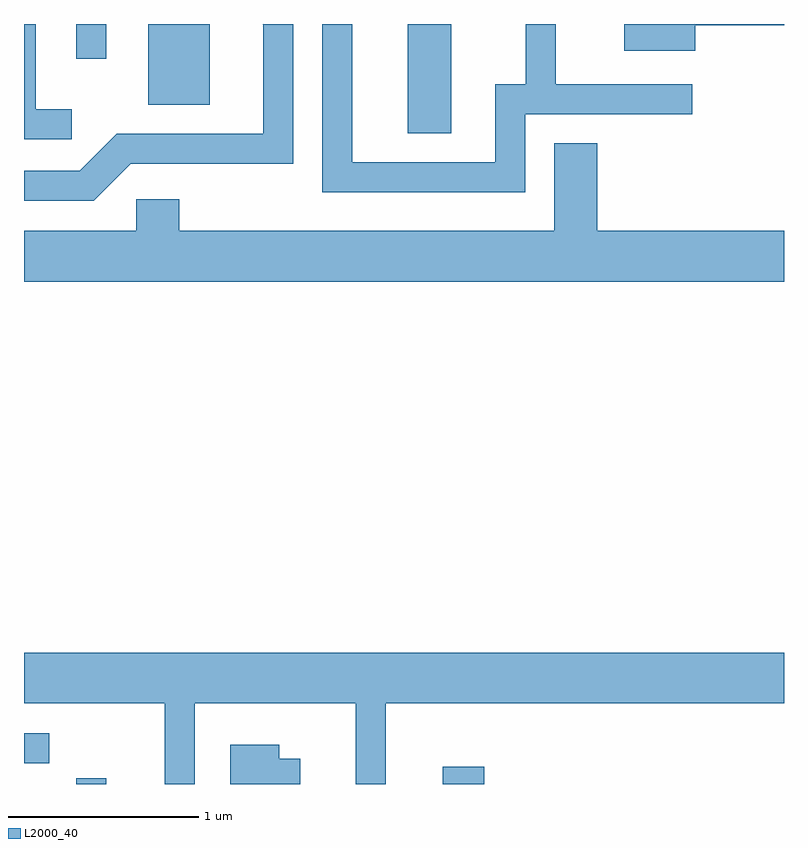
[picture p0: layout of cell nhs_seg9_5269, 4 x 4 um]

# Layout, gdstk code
import gdstk
lib = gdstk.Library(unit=1e-6, precision=1e-09)
def R(c, l, rs):  # rectangles x0, y0, x1, y1
    for r in rs: c.add(gdstk.rectangle(r[:2], r[2:], *l))
def P(c, l, *ps):  # polygons
    for p in ps: c.add(gdstk.Polygon(p, *l))
L2000_40 = (2000, 40)

nhs_seg9_5269 = lib.new_cell('nhs_seg9_5269')
R(nhs_seg9_5269, L2000_40, [(339.886,2062.432,340.044,2062.463), (341.816,2062.432,342.034,2062.524), (339.611,2062.541,339.743,2062.699), (341.631,2065.856,341.859,2066.432), (340.266,2066.006,340.589,2066.432), (339.886,2066.248,340.044,2066.432)])
P(nhs_seg9_5269, L2000_40, [(343.144,2066.426),(343.611,2066.426),(343.611,2066.432),(342.771,2066.432),(342.771,2066.291),(343.144,2066.291)],
  [(339.863,2065.984),(339.674,2065.984),(339.674,2066.432),(339.611,2066.432),(339.611,2065.826),(339.863,2065.826)],
  [(342.249,2065.956),(343.128,2065.956),(343.128,2066.114),(342.409,2066.114),(342.409,2066.432),(342.251,2066.432),(342.251,2066.114),(342.091,2066.114),(342.091,2065.704),(341.339,2065.704),(341.339,2066.432),(341.181,2066.432),(341.181,2065.546),(342.249,2065.546)],
  [(340.172,2065.696),(341.029,2065.696),(341.029,2066.432),(340.868,2066.432),(340.871,2066.429),(340.871,2065.854),(340.099,2065.854),(339.904,2065.659),(339.611,2065.659),(339.611,2065.501),(339.977,2065.501)],
  [(343.611,2065.344),(342.629,2065.344),(342.629,2065.804),(342.401,2065.804),(342.401,2065.344),(340.429,2065.344),(340.429,2065.509),(340.201,2065.509),(340.201,2065.344),(339.611,2065.344),(339.611,2065.076),(343.611,2065.076)],
  [(340.509,2062.856),(341.356,2062.856),(341.356,2062.432),(341.514,2062.432),(341.514,2062.856),(343.611,2062.856),(343.611,2063.124),(339.611,2063.124),(339.611,2062.856),(340.351,2062.856),(340.351,2062.432),(340.509,2062.432)],
  [(341.064,2062.564),(340.954,2062.564),(340.954,2062.639),(340.696,2062.639),(340.696,2062.432),(341.064,2062.432)])

lib.write_gds('nhs_seg9_5269.gds')
